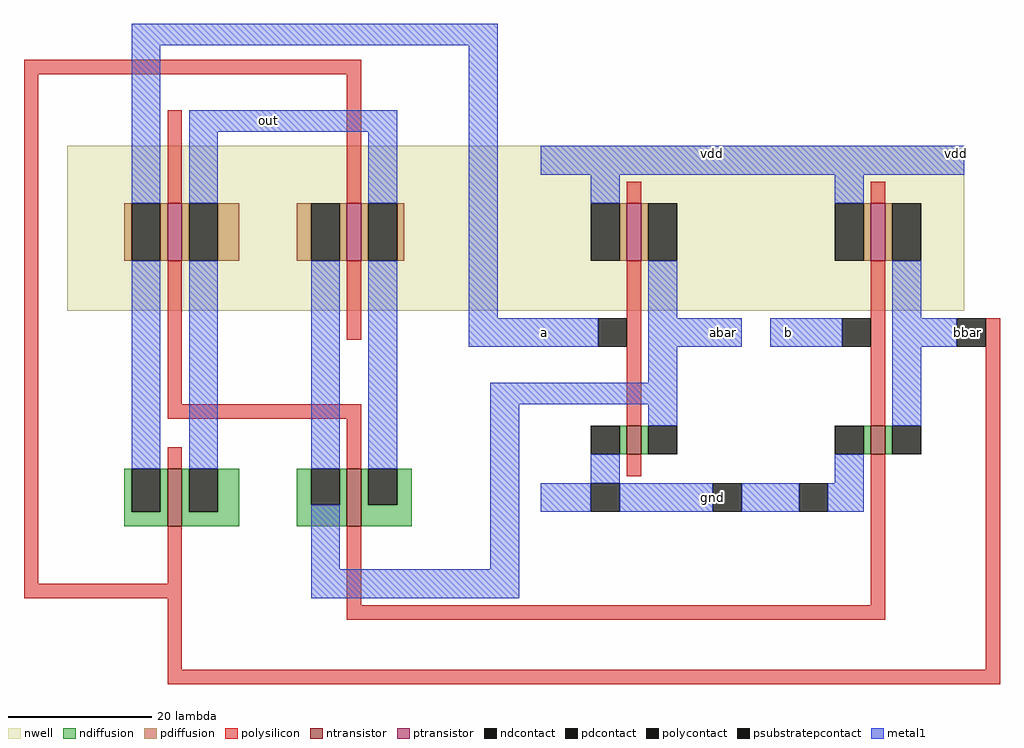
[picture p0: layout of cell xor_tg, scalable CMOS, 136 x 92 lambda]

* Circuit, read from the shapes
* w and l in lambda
.subckt xor_tg a abar b bbar gnd out vdd
M1 out bbar a gnd nfet w=8 l=2
M2 out b abar gnd nfet w=8 l=2
M3 abar a gnd gnd nfet w=4 l=2
M4 bbar b gnd gnd nfet w=4 l=2
M5 out b a n1 pfet w=8 l=2
M6 out bbar abar n1 pfet w=8 l=2
M7 abar a vdd n1 pfet w=8 l=2
M8 bbar b vdd n1 pfet w=8 l=2
.ends

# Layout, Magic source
magic
tech scmos
<< nwell >>
rect -66 -2 59 21
<< ntransistor >>
rect 12 -22 14 -18
rect 46 -22 48 -18
rect -52 -32 -50 -24
rect -27 -32 -25 -24
<< ptransistor >>
rect -52 5 -50 13
rect -27 5 -25 13
rect 12 5 14 13
rect 46 5 48 13
<< ndiffusion >>
rect 11 -22 12 -18
rect 14 -22 15 -18
rect 45 -22 46 -18
rect 48 -22 49 -18
rect -58 -30 -57 -24
rect -53 -30 -52 -24
rect -58 -32 -52 -30
rect -50 -30 -49 -24
rect -45 -30 -42 -24
rect -50 -32 -42 -30
rect -34 -29 -32 -24
rect -28 -29 -27 -24
rect -34 -32 -27 -29
rect -25 -29 -24 -24
rect -20 -29 -18 -24
rect -25 -32 -18 -29
<< pdiffusion >>
rect -58 5 -57 13
rect -53 5 -52 13
rect -50 5 -49 13
rect -45 5 -42 13
rect -34 5 -32 13
rect -28 5 -27 13
rect -25 5 -24 13
rect -20 5 -19 13
rect 11 5 12 13
rect 14 5 15 13
rect 45 5 46 13
rect 48 5 49 13
<< ndcontact >>
rect 7 -22 11 -18
rect 15 -22 19 -18
rect 41 -22 45 -18
rect 49 -22 53 -18
rect -57 -30 -53 -24
rect -49 -30 -45 -24
rect -32 -29 -28 -24
rect -24 -29 -20 -24
<< pdcontact >>
rect -57 5 -53 13
rect -49 5 -45 13
rect -32 5 -28 13
rect -24 5 -20 13
rect 7 5 11 13
rect 15 5 19 13
rect 41 5 45 13
rect 49 5 53 13
<< psubstratepcontact >>
rect 7 -30 11 -26
rect 24 -30 28 -26
rect 36 -30 40 -26
<< polysilicon >>
rect -72 31 -25 33
rect -72 -40 -70 31
rect -52 13 -50 26
rect -27 13 -25 31
rect 12 13 14 16
rect 46 13 48 16
rect -52 -15 -50 5
rect -27 -6 -25 5
rect -52 -17 -25 -15
rect -52 -24 -50 -21
rect -27 -24 -25 -17
rect 12 -18 14 5
rect 46 -18 48 5
rect 12 -25 14 -22
rect -52 -40 -50 -32
rect -72 -42 -50 -40
rect -52 -52 -50 -42
rect -27 -43 -25 -32
rect 46 -43 48 -22
rect -27 -45 48 -43
rect 62 -52 64 -3
rect -52 -54 64 -52
<< polycontact >>
rect 8 -7 12 -3
rect 42 -7 46 -3
rect 58 -7 62 -3
<< metal1 >>
rect -57 35 -6 38
rect -57 13 -53 35
rect -57 -24 -53 5
rect -49 23 -20 26
rect -49 13 -45 23
rect -24 13 -20 23
rect -49 -24 -45 5
rect -32 -24 -28 5
rect -24 -24 -20 5
rect -10 -3 -6 35
rect 0 17 59 21
rect 7 13 11 17
rect 41 13 45 17
rect 15 -3 19 5
rect 49 -3 53 5
rect -10 -7 8 -3
rect 15 -7 28 -3
rect 32 -7 42 -3
rect 49 -7 58 -3
rect 15 -12 19 -7
rect -7 -15 19 -12
rect -32 -38 -28 -29
rect -7 -38 -3 -15
rect 15 -18 19 -15
rect 49 -18 53 -7
rect 7 -26 11 -22
rect 41 -26 45 -22
rect 0 -30 7 -26
rect 11 -30 24 -26
rect 28 -30 36 -26
rect 40 -30 45 -26
rect -32 -42 -3 -38
<< labels >>
rlabel metal1 24 20 24 20 6 vdd
rlabel metal1 58 20 58 20 6 vdd
rlabel metal1 23 -7 28 -3 1 abar
rlabel metal1 -2 -7 3 -3 3 a
rlabel metal1 32 -7 37 -3 1 b
rlabel metal1 57 -7 62 -3 7 bbar
rlabel metal1 24 -28 24 -28 8 gnd
rlabel metal1 -40 23 -36 26 1 out
<< end >>
